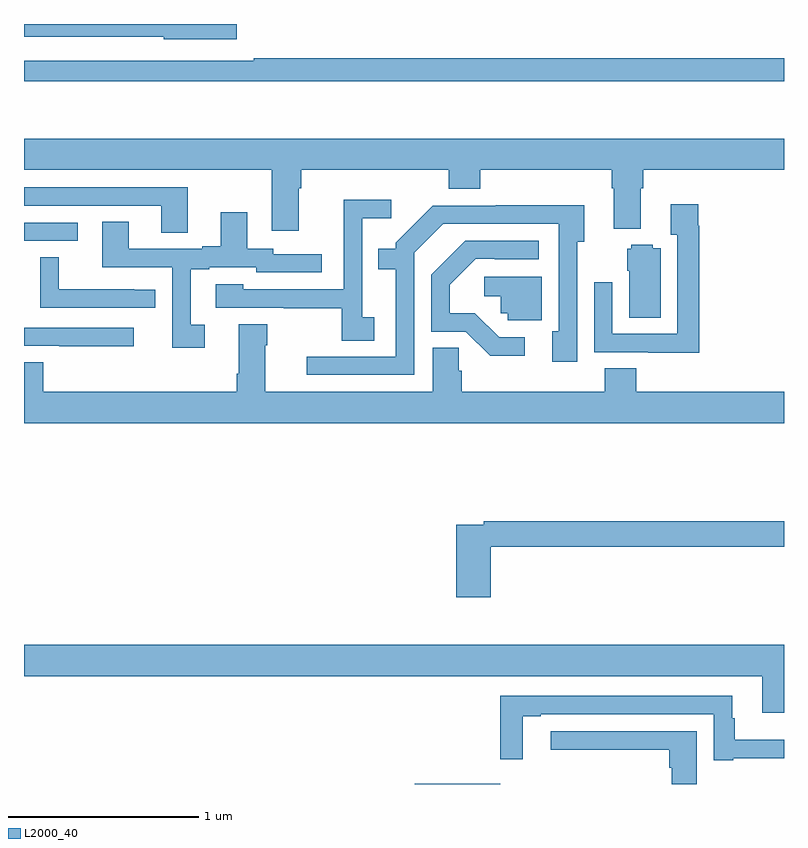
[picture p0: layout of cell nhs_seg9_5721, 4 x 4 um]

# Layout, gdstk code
import gdstk
lib = gdstk.Library(unit=1e-6, precision=1e-09)
def R(c, l, rs):  # rectangles x0, y0, x1, y1
    for r in rs: c.add(gdstk.rectangle(r[:2], r[2:], *l))
def P(c, l, *ps):  # polygons
    for p in ps: c.add(gdstk.Polygon(p, *l))
L2000_40 = (2000, 40)

nhs_seg9_5721 = lib.new_cell('nhs_seg9_5721')
R(nhs_seg9_5721, L2000_40, [(445.056,1214.5,445.506,1214.501), (443,1217.358,443.284,1217.454)])
P(nhs_seg9_5721, L2000_40, [(444.121,1218.5),(443,1218.5),(443,1218.432),(443.736,1218.432),(443.736,1218.419),(444.121,1218.419)],
  [(447,1218.319),(444.208,1218.319),(444.208,1218.306),(443,1218.306),(443,1218.198),(447,1218.198)],
  [(444.445,1217.636),(444.458,1217.636),(444.458,1217.732),(445.235,1217.732),(445.235,1217.633),(445.4,1217.633),(445.4,1217.732),(446.093,1217.732),(446.093,1217.636),(446.105,1217.636),(446.105,1217.423),(446.245,1217.423),(446.245,1217.636),(446.258,1217.636),(446.258,1217.732),(447,1217.732),(447,1217.896),(443,1217.896),(443,1217.732),(444.305,1217.732),(444.305,1217.412),(444.445,1217.412)],
  [(443.863,1217.64),(443,1217.64),(443,1217.544),(443.723,1217.544),(443.723,1217.401),(443.863,1217.401)],
  [(444.844,1216.956),(444.78,1216.956),(444.78,1217.477),(444.934,1217.477),(444.934,1217.575),(444.682,1217.575),(444.682,1217.336),(444.684,1217.336),(444.684,1217.103),(444.153,1217.103),(444.153,1217.131),(444.009,1217.131),(444.009,1217.007),(444.367,1217.007),(444.367,1217.005),(444.672,1217.005),(444.672,1216.834),(444.844,1216.834)],
  [(446.555,1217.438),(446.548,1217.438),(446.548,1217.551),(446.405,1217.551),(446.405,1217.39),(446.439,1217.39),(446.439,1216.869),(446.097,1216.869),(446.097,1217.14),(446.001,1217.14),(446.001,1216.773),(446.285,1216.773),(446.285,1216.769),(446.555,1216.769)],
  [(445.053,1217.295),(445.206,1217.448),(445.815,1217.448),(445.815,1216.882),(445.781,1216.882),(445.781,1216.722),(445.911,1216.722),(445.911,1217.354),(445.948,1217.354),(445.948,1217.546),(445.483,1217.546),(445.483,1217.544),(445.152,1217.544),(444.957,1217.349),(444.957,1217.317),(444.865,1217.317),(444.865,1217.208),(444.956,1217.208),(444.956,1216.749),(444.489,1216.749),(444.489,1216.653),(445.053,1216.653)],
  [(443.95,1216.917),(443.878,1216.917),(443.878,1217.208),(443.974,1217.208),(443.974,1217.22),(444.222,1217.22),(444.222,1217.193),(444.568,1217.193),(444.568,1217.289),(444.312,1217.289),(444.312,1217.316),(444.175,1217.316),(444.175,1217.509),(444.035,1217.509),(444.035,1217.329),(443.939,1217.329),(443.939,1217.316),(443.551,1217.316),(443.551,1217.459),(443.411,1217.459),(443.411,1217.22),(443.781,1217.22),(443.781,1216.797),(443.95,1216.797)],
  [(445.636,1216.851),(445.5,1216.851),(445.373,1216.978),(445.24,1216.978),(445.24,1217.128),(445.377,1217.265),(445.477,1217.265),(445.477,1217.262),(445.708,1217.262),(445.708,1217.358),(445.322,1217.358),(445.143,1217.179),(445.143,1216.881),(445.326,1216.881),(445.454,1216.754),(445.636,1216.754)],
  [(446.35,1217.32),(446.31,1217.32),(446.31,1217.338),(446.196,1217.338),(446.196,1217.316),(446.174,1217.316),(446.174,1217.202),(446.186,1217.202),(446.186,1216.954),(446.35,1216.954)],
  [(443.692,1217.102),(443.579,1217.102),(443.579,1217.103),(443.184,1217.103),(443.184,1217.273),(443.085,1217.273),(443.085,1217.007),(443.692,1217.007)],
  [(445.726,1217.169),(445.422,1217.169),(445.422,1217.066),(445.509,1217.066),(445.509,1216.977),(445.545,1216.977),(445.545,1216.941),(445.726,1216.941)],
  [(447,1216.564),(446.222,1216.564),(446.222,1216.688),(446.057,1216.688),(446.057,1216.564),(445.304,1216.564),(445.304,1216.674),(445.289,1216.674),(445.289,1216.796),(445.151,1216.796),(445.151,1216.564),(444.271,1216.564),(444.271,1216.808),(444.279,1216.808),(444.279,1216.921),(444.131,1216.921),(444.131,1216.66),(444.119,1216.66),(444.119,1216.564),(443.102,1216.564),(443.102,1216.721),(443,1216.721),(443,1216.4),(447,1216.4)],
  [(443.578,1216.902),(443,1216.902),(443,1216.806),(443.185,1216.806),(443.185,1216.804),(443.578,1216.804)],
  [(445.457,1215.748),(447,1215.748),(447,1215.884),(445.42,1215.884),(445.42,1215.864),(445.274,1215.864),(445.274,1215.483),(445.457,1215.483)],
  [(447,1215.232),(443,1215.232),(443,1215.068),(446.885,1215.068),(446.885,1214.874),(447,1214.874)],
  [(446.734,1214.636),(447,1214.636),(447,1214.734),(446.74,1214.734),(446.74,1214.846),(446.728,1214.846),(446.728,1214.964),(445.507,1214.964),(445.507,1214.631),(445.624,1214.631),(445.624,1214.856),(445.72,1214.856),(445.72,1214.868),(446.631,1214.868),(446.631,1214.625),(446.734,1214.625)],
  [(446.542,1214.778),(445.773,1214.778),(445.773,1214.681),(446.396,1214.681),(446.396,1214.585),(446.408,1214.585),(446.408,1214.5),(446.542,1214.5)])

lib.write_gds('nhs_seg9_5721.gds')
